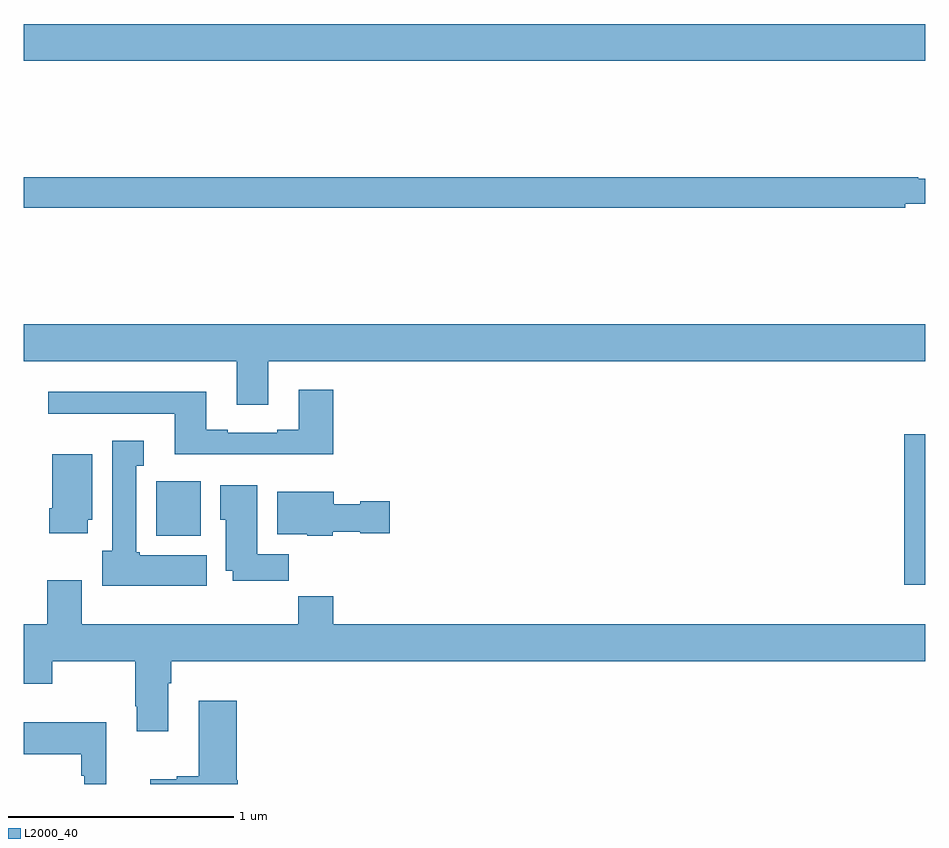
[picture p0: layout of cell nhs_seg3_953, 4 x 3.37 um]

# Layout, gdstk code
import gdstk
lib = gdstk.Library(unit=1e-6, precision=1e-09)
def R(c, l, rs):  # rectangles x0, y0, x1, y1
    for r in rs: c.add(gdstk.rectangle(r[:2], r[2:], *l))
def P(c, l, *ps):  # polygons
    for p in ps: c.add(gdstk.Polygon(p, *l))
L2000_40 = (2000, 40)

nhs_seg3_953 = lib.new_cell('nhs_seg3_953')
R(nhs_seg3_953, L2000_40, [(164.906,673.284,165,673.951), (161.588,673.502,161.785,673.744), (161,675.608,165,675.772)])
P(nhs_seg3_953, L2000_40, [(164.912,674.975),(165,674.975),(165,675.085),(164.968,675.085),(164.968,675.092),(161,675.092),(161,674.956),(164.912,674.956)],
  [(162.085,674.276),(165,674.276),(165,674.44),(161,674.44),(161,674.276),(161.945,674.276),(161.945,674.082),(162.085,674.082)],
  [(162.374,674.149),(162.221,674.149),(162.221,673.972),(162.125,673.972),(162.125,673.959),(161.905,673.959),(161.905,673.972),(161.809,673.972),(161.809,674.14),(161.109,674.14),(161.109,674.043),(161.669,674.043),(161.669,673.862),(162.374,673.862)],
  [(161.812,673.414),(161.514,673.414),(161.514,673.428),(161.5,673.428),(161.5,673.811),(161.533,673.811),(161.533,673.924),(161.393,673.924),(161.393,673.434),(161.348,673.434),(161.348,673.28),(161.812,673.28)],
  [(161.284,673.572),(161.305,673.572),(161.305,673.864),(161.126,673.864),(161.126,673.624),(161.114,673.624),(161.114,673.512),(161.284,673.512)],
  [(162.176,673.42),(162.037,673.42),(162.037,673.726),(161.873,673.726),(161.873,673.572),(161.897,673.572),(161.897,673.346),(161.927,673.346),(161.927,673.302),(162.176,673.302)],
  [(162.372,673.52),(162.492,673.52),(162.492,673.513),(162.625,673.513),(162.625,673.655),(162.492,673.655),(162.492,673.642),(162.376,673.642),(162.376,673.696),(162.125,673.696),(162.125,673.508),(162.258,673.508),(162.258,673.502),(162.372,673.502)],
  [(161.641,672.848),(161.654,672.848),(161.654,672.944),(165,672.944),(165,673.108),(162.374,673.108),(162.374,673.232),(162.217,673.232),(162.217,673.108),(161.257,673.108),(161.257,673.303),(161.105,673.303),(161.105,673.108),(161,673.108),(161,672.845),(161.127,672.845),(161.127,672.944),(161.494,672.944),(161.494,672.745),(161.501,672.745),(161.501,672.633),(161.641,672.633)],
  [(161.95,672.417),(161.945,672.417),(161.945,672.769),(161.777,672.769),(161.777,672.434),(161.678,672.434),(161.678,672.421),(161.562,672.421),(161.562,672.4),(161.95,672.4)],
  [(161.366,672.673),(161,672.673),(161,672.533),(161.256,672.533),(161.256,672.437),(161.268,672.437),(161.268,672.4),(161.366,672.4)])

lib.write_gds('nhs_seg3_953.gds')
